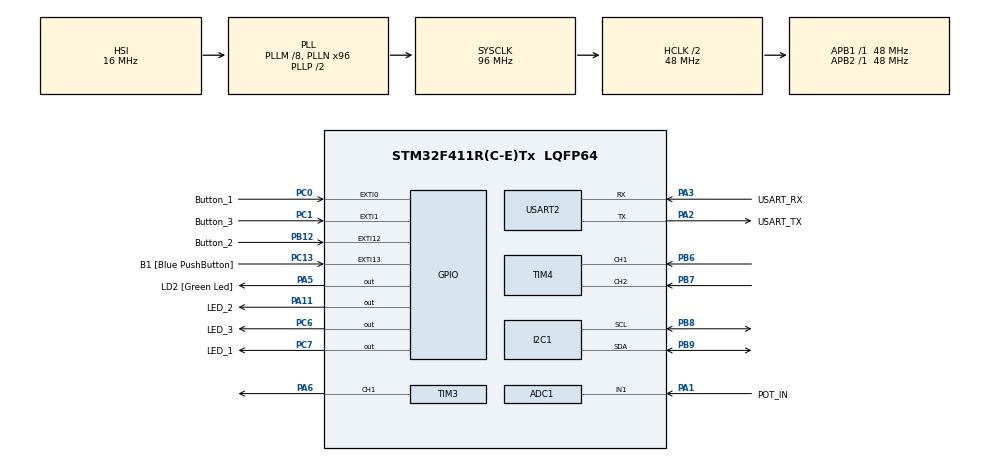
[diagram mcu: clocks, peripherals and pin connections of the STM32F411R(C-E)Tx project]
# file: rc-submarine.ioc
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ADC1.Channel-11\#ChannelRegularConversion=ADC_CHANNEL_1
ADC1.ContinuousConvMode=ENABLE
ADC1.NbrOfConversionFlag=1
ADC1.Rank-11\#ChannelRegularConversion=1
ADC1.SamplingTime-11\#ChannelRegularConversion=ADC_SAMPLETIME_28CYCLES
ADC1.master=1
Dma.Request0=USART2_TX
Dma.USART2_TX.0.Direction=DMA_MEMORY_TO_PERIPH
Dma.USART2_TX.0.FIFOMode=DMA_FIFOMODE_DISABLE
Dma.USART2_TX.0.Instance=DMA1_Stream6
Dma.USART2_TX.0.MemDataAlignment=DMA_MDATAALIGN_BYTE
Dma.USART2_TX.0.MemInc=DMA_MINC_ENABLE
Dma.USART2_TX.0.Mode=DMA_NORMAL
Dma.USART2_TX.0.PeriphDataAlignment=DMA_PDATAALIGN_BYTE
Dma.USART2_TX.0.PeriphInc=DMA_PINC_DISABLE
Dma.USART2_TX.0.Priority=DMA_PRIORITY_LOW
Mcu.Family=STM32F4
Mcu.Name=STM32F411R(C-E)Tx
Mcu.Package=LQFP64
NVIC.DMA1_Stream6_IRQn=true\:0\:0\:false\:false\:true\:false\:true\:true
NVIC.PriorityGroup=NVIC_PRIORITYGROUP_0
NVIC.USART2_IRQn=true\:0\:0\:false\:false\:true\:true\:true\:true
PA1.GPIO_Label=POT_IN
PA1.Signal=ADCx_IN1
PA11.GPIO_Label=LED_2
PA11.Signal=GPIO_Output
PA13.GPIO_Label=TMS
PA13.Signal=SYS_JTMS-SWDIO
PA14.GPIO_Label=TCK
PA14.Signal=SYS_JTCK-SWCLK
PA2.GPIO_Label=USART_TX
PA2.Mode=Asynchronous
PA2.Signal=USART2_TX
PA3.GPIO_Label=USART_RX
PA3.Mode=Asynchronous
PA3.Signal=USART2_RX
PA5.GPIO_Label=LD2 [Green Led]
PA5.Signal=GPIO_Output
PA6.Signal=S_TIM3_CH1
PB12.GPIO_Label=Button_2
PB12.GPIO_ModeDefaultEXTI=GPIO_MODE_IT_FALLING
PB12.GPIO_PuPd=GPIO_PULLDOWN
PB12.Signal=GPXTI12
PB3.Signal=SYS_JTDO-SWO
PB6.Signal=S_TIM4_CH1
PB7.Signal=S_TIM4_CH2
PB8.Mode=I2C
PB8.Signal=I2C1_SCL
PB9.Mode=I2C
PB9.Signal=I2C1_SDA
PC0.GPIO_Label=Button_1
PC0.GPIO_ModeDefaultEXTI=GPIO_MODE_IT_FALLING
PC0.GPIO_PuPd=GPIO_PULLDOWN
PC0.Signal=GPXTI0
PC1.GPIO_Label=Button_3
PC1.GPIO_ModeDefaultEXTI=GPIO_MODE_IT_FALLING
PC1.GPIO_PuPd=GPIO_PULLDOWN
PC1.Signal=GPXTI1
PC13-ANTI_TAMP.GPIO_Label=B1 [Blue PushButton]
PC13-ANTI_TAMP.GPIO_ModeDefaultEXTI=GPIO_MODE_IT_FALLING
PC13-ANTI_TAMP.GPIO_PuPd=GPIO_NOPULL
PC13-ANTI_TAMP.Signal=GPXTI13
PC14-OSC32_IN.Signal=RCC_OSC32_IN
PC15-OSC32_OUT.Signal=RCC_OSC32_OUT
PC6.GPIO_Label=LED_3
PC6.Signal=GPIO_Output
PC7.GPIO_Label=LED_1
PC7.Signal=GPIO_Output
PH0\ -\ OSC_IN.Mode=HSE-External-Clock-Source
PH0\ -\ OSC_IN.Signal=RCC_OSC_IN
PH1\ -\ OSC_OUT.Mode=HSE-External-Clock-Source
PH1\ -\ OSC_OUT.Signal=RCC_OSC_OUT
ProjectManager.HeapSize=0x200
ProjectManager.StackSize=0x400
ProjectManager.TargetToolchain=Makefile
RCC.48MHZClocksFreq_Value=48000000
RCC.AHBCLKDivider=RCC_SYSCLK_DIV2
RCC.AHBFreq_Value=48000000
RCC.APB1Freq_Value=48000000
RCC.APB1TimFreq_Value=48000000
RCC.APB2Freq_Value=48000000
RCC.APB2TimFreq_Value=48000000
RCC.CortexFreq_Value=48000000
RCC.FLatency-AdvancedSettings=FLASH_LATENCY_1
RCC.HCLKFreq_Value=48000000
RCC.HSE_VALUE=8000000
RCC.HSI_VALUE=16000000
RCC.LSE_VALUE=32768
RCC.PLLM=8
RCC.PLLN=96
RCC.SYSCLKFreq_VALUE=96000000
RCC.SYSCLKSource=RCC_SYSCLKSOURCE_PLLCLK
RCC.VCOOutputFreq_Value=192000000
SH.ADCx_IN1.0=ADC1_IN1,IN1
SH.S_TIM3_CH1.0=TIM3_CH1,PWM Generation1 CH1
SH.S_TIM4_CH1.0=TIM4_CH1,Encoder_Interface
SH.S_TIM4_CH2.0=TIM4_CH2,Encoder_Interface
TIM2.Prescaler=47
TIM3.Channel-PWM\ Generation1\ CH1=TIM_CHANNEL_1
TIM3.Period=4095
TIM3.Prescaler=0
TIM4.EncoderMode=TIM_ENCODERMODE_TI12
USART2.VirtualMode=VM_ASYNC
VP_TIM2_VS_ClockSourceINT.Mode=Internal
VP_TIM3_VS_ClockSourceINT.Mode=Internal
board=NUCLEO-F411RE

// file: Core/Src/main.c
/* USER CODE BEGIN Header */
/**
  ******************************************************************************
  * @file           : main.c
  * @brief          : Main program body
  ******************************************************************************
  * @attention
  *
  * Copyright (c) 2026 STMicroelectronics.
  * All rights reserved.
  *
  * This software is licensed under terms that can be found in the LICENSE file
  * in the root directory of this software component.
  * If no LICENSE file comes with this software, it is provided AS-IS.
  *
  ******************************************************************************
  */
/* USER CODE END Header */
#include "main.h"

/* USER CODE BEGIN Includes */
#include <stdio.h>
#include <string.h>
#include <stdlib.h>
#include "gy521_driver.h"
#include "stm32f4xx_hal_def.h"
#include "stm32f4xx_hal_gpio.h"
/* USER CODE END Includes */

ADC_HandleTypeDef hadc1;

I2C_HandleTypeDef hi2c1;

TIM_HandleTypeDef htim2;
TIM_HandleTypeDef htim3;
TIM_HandleTypeDef htim4;

UART_HandleTypeDef huart2;
DMA_HandleTypeDef hdma_usart2_tx;

/* USER CODE BEGIN PV */
uint16_t last_1s_toggle_time = 0; // Variable to store the last toggle time for LED_1
uint16_t last_2s_toggle_time = 0; // Variable to store the last toggle time for LED_1 and LED_2
uint16_t last_3s_toggle_time = 0; // Variable to store the last toggle time for LED_1, LED_2, and LED_3
uint16_t adc_value = 0; // Variable to store the ADC value
char dma_tx_buffer[512]; // Buffer for DMA transmission
volatile uint8_t uart_tx_ready = 1; // Flag to indicate if UART is ready for transmission

GY521_Data_t imu_metrics = {0};;

volatile uint32_t cpu_active_us = 0;
volatile uint32_t cpu_usage_percent = 0;

  // Define the clear, readable states for motor controller
  typedef enum {
    MOTOR_STOPPED = 0,
    MOTOR_FORWARD = 1,
    MOTOR_REVERSE = 2
  } MotorState_t;

  volatile MotorState_t motor_status = MOTOR_STOPPED; // Variable to store the current motor state
  char* motor_state_str = "STOPPED"; // String representation of the motor state for telemetry display
/* USER CODE END PV */

void SystemClock_Config(void);
static void MX_GPIO_Init(void);
static void MX_DMA_Init(void);
static void MX_TIM3_Init(void);
static void MX_USART2_UART_Init(void);
static void MX_ADC1_Init(void);
static void MX_TIM4_Init(void);
static void MX_I2C1_Init(void);
static void MX_TIM2_Init(void);

int main(void)
{

  /* MCU Configuration--------------------------------------------------------*/

  /* Reset of all peripherals, Initializes the Flash interface and the Systick. */
  HAL_Init();

  /* Configure the system clock */
  SystemClock_Config();

  /* Initialize all configured peripherals */
  MX_GPIO_Init();
  MX_DMA_Init();
  MX_TIM3_Init();
  MX_USART2_UART_Init();
  MX_ADC1_Init();
  MX_TIM4_Init();
  MX_I2C1_Init();
  MX_TIM2_Init();
  /* USER CODE BEGIN 2 */
  // Start the timer for PWM generation
  HAL_TIM_PWM_Start(&htim3, TIM_CHANNEL_1);

  // Start the timer for periodic interrupts
  HAL_TIM_Base_Start(&htim3); // Start the timer

  // Start the microsecond timer for CPU usage measurement
  HAL_TIM_Base_Start(&htim2); // Start the microsecond timer

  HAL_TIM_Encoder_Start(&htim4, TIM_CHANNEL_ALL); // Start the encoder interface

  // Variables to track the last state of buttons for edge detection
  uint8_t last_button_1_state = GPIO_PIN_RESET; // Variable to store the last state of Button_1
  uint8_t last_button_2_state = GPIO_PIN_RESET; // Variable to store the last state of Button_2
  uint8_t last_button_3_state = GPIO_PIN_RESET; // Variable to store the last state of Button_3

  // Motor feedback variables
  volatile uint32_t current_count = 0; // Variable to store the current counter value of the encoder
  volatile uint32_t last_count = 0; // Variable to store the last counter value of the encoder
  volatile int16_t raw_delta = 0; // Variable to store the raw delta count (difference between current and last count)
  volatile float motor_rpm = 0.0f; // Variable to store the calculated motor RPM (Revolutions Per Minute)
  volatile int32_t rounded_rpm = 0; // Variable to store the rounded motor RPM for display purposes

  if (GY521_Init_Advanced(&hi2c1) != HAL_OK)
  {
    HAL_GPIO_WritePin(LED_3_GPIO_Port, LED_3_Pin, GPIO_PIN_SET);
  }
  else
  {
    HAL_GPIO_WritePin(LED_3_GPIO_Port, LED_3_Pin, GPIO_PIN_RESET);
  }

  /* USER CODE END 2 */

  /* Infinite loop */
  /* USER CODE BEGIN WHILE */

  while (1)
{
    // Capture the microsecond timer value for CPU usage measurement
    uint32_t loop_start_time = __HAL_TIM_GET_COUNTER(&htim2);
    /* USER CODE END WHILE */

    /* USER CODE BEGIN 3 */

    // ADC Conversion
    HAL_ADC_Start(&hadc1);
    if (HAL_ADC_PollForConversion(&hadc1, 100) == HAL_OK)
    {
      adc_value = HAL_ADC_GetValue(&hadc1);
    }
    HAL_ADC_Stop(&hadc1);

    // Tie the ADC value to the PWM duty cycle for LED brightness control
    __HAL_TIM_SET_COMPARE(&htim3, TIM_CHANNEL_1, 4095 - adc_value);

    // Calculate the duty percentage for RealTerm telemetry
    uint32_t duty_percentage = (adc_value * 100) / 4095;

    // Read the current hardware state of buttons
    uint8_t current_button_1_state = HAL_GPIO_ReadPin(Button_1_GPIO_Port, Button_1_Pin);
    uint8_t current_button_2_state = HAL_GPIO_ReadPin(Button_2_GPIO_Port, Button_2_Pin);
    uint8_t current_button_3_state = HAL_GPIO_ReadPin(Button_3_GPIO_Port, Button_3_Pin);

    uint32_t current_time_ms = HAL_GetTick();
    static uint32_t last_button_1_press = 0;
    static uint32_t last_button_2_press = 0;
    static uint32_t last_button_3_press = 0;

    // Check for the falling edge of Button_1
    if (current_button_1_state == GPIO_PIN_RESET && last_button_1_state == GPIO_PIN_SET)
    {
      if (current_time_ms - last_button_1_press >= 50)
      {
        HAL_GPIO_TogglePin(LED_1_GPIO_Port, LED_1_Pin);
        last_button_1_press = current_time_ms;

        if (motor_status == MOTOR_FORWARD) motor_status = MOTOR_STOPPED;
        else                               motor_status = MOTOR_FORWARD;
      }
    }

    // Check for the falling edge of Button_2
    if (current_button_2_state == GPIO_PIN_RESET && last_button_2_state == GPIO_PIN_SET)
    {
      if (current_time_ms - last_button_2_press >= 50)
      {
        HAL_GPIO_TogglePin(LED_2_GPIO_Port, LED_2_Pin);
        last_button_2_press = current_time_ms;

        if (motor_status == MOTOR_REVERSE) motor_status = MOTOR_STOPPED;
        else                               motor_status = MOTOR_REVERSE;
      }
    }

    // Check for the falling edge of Button_3
    if (current_button_3_state == GPIO_PIN_RESET && last_button_3_state == GPIO_PIN_SET)
    {
      if (current_time_ms - last_button_3_press >= 50)
      {
        HAL_GPIO_TogglePin(LED_3_GPIO_Port, LED_3_Pin);
        last_button_3_press = current_time_ms;
      }
    }

    // Resolve the state machine into an explicit text string
    switch (motor_status)
    {
      case MOTOR_STOPPED: motor_state_str = "STOPPED"; break;
      case MOTOR_FORWARD: motor_state_str = "FORWARD"; break;
      case MOTOR_REVERSE: motor_state_str = "REVERSE"; break;
      default:            motor_state_str = "UNKNOWN"; break;
    }

    // Update the tracking history for the next iteration
    last_button_1_state = current_button_1_state;
    last_button_2_state = current_button_2_state;
    last_button_3_state = current_button_3_state;

    // Press B1 to turn on LD2
    if (HAL_GPIO_ReadPin(B1_GPIO_Port, B1_Pin) == GPIO_PIN_SET)
    {
      HAL_GPIO_WritePin(LD2_GPIO_Port, LD2_Pin, GPIO_PIN_SET);
    }
    else
    {
      HAL_GPIO_WritePin(LD2_GPIO_Port, LD2_Pin, GPIO_PIN_RESET);
    }

    // =================================================================
    // FIXED INTERVAL 1: HIGH-SPEED 20ms TELEMETRY & IMU SAMPLING (50Hz)
    // =================================================================
    static uint32_t last_rpm_time = 0;
    if (current_time_ms - last_rpm_time >= 20)
    {
      // CRITICAL FIX: Always advance the clock interval independently of UART hardware readiness
      last_rpm_time = current_time_ms;

      current_count = __HAL_TIM_GET_COUNTER(&htim4);
      raw_delta = (int16_t)(current_count - last_count);
      last_count = current_count;
      int16_t abs_delta = abs(raw_delta);

      // RPM delta tracking matching the 0.02s step
      motor_rpm = ((float)abs_delta / 0.02f) / (48.0f * 9.68f) * 60.0f;

      if (motor_rpm >= 0.0f) rounded_rpm = (int32_t)(motor_rpm + 0.5f);
      else                   rounded_rpm = (int32_t)(motor_rpm - 0.5f);

      // Execute the single burst transaction safetly over the bus
      HAL_StatusTypeDef i2c_status = GY521_Read_Burst(&hi2c1, &imu_metrics);

      // Handle bad frames
      if (i2c_status != HAL_OK)
      {
        HAL_GPIO_WritePin(LED_3_GPIO_Port, LED_3_Pin, GPIO_PIN_SET); // Turn on LED_1 to indicate I2C error
      }
      else
      {
        HAL_GPIO_WritePin(LED_3_GPIO_Port, LED_3_Pin, GPIO_PIN_RESET); // Turn off LED_1 to indicate I2C success
      }

      // ONLY attempt a transmission pipeline write if the previous DMA transfer is completely clear
      if (uart_tx_ready == 1)
      {
        char* led1_str = (HAL_GPIO_ReadPin(LED_1_GPIO_Port, LED_1_Pin) == GPIO_PIN_SET) ? "ON" : "OFF";
        char* led2_str = (HAL_GPIO_ReadPin(LED_2_GPIO_Port, LED_2_Pin) == GPIO_PIN_SET) ? "ON" : "OFF";
        char* led3_str = (HAL_GPIO_ReadPin(LED_3_GPIO_Port, LED_3_Pin) == GPIO_PIN_SET) ? "ON" : "OFF";

        memset(dma_tx_buffer, 0, sizeof(dma_tx_buffer));

        int msg_len = snprintf(dma_tx_buffer, sizeof(dma_tx_buffer),
          "%ld,%u,%lu,%s,%s,%s,%d,%d,%d,%d,%d,%d,%lu,%s\r\n",
            rounded_rpm, adc_value, duty_percentage, led1_str, led2_str, led3_str,
            imu_metrics.raw_ax, imu_metrics.raw_ay, imu_metrics.raw_az,
            imu_metrics.raw_gx, imu_metrics.raw_gy, imu_metrics.raw_gz,
            cpu_usage_percent, motor_state_str);

        uart_tx_ready = 0; // Lock structural hardware interlock barrier
        HAL_UART_Transmit_DMA(&huart2, (uint8_t*)dma_tx_buffer, msg_len);
      }
    }

    // =================================================================
    // ACCUMULATE ACTIVE MICROSECONDS (Runs on every single loop pass)
    // =================================================================
    uint32_t loop_end_time = __HAL_TIM_GET_COUNTER(&htim2);
    if (loop_end_time >= loop_start_time)
    {
      cpu_active_us += (loop_end_time - loop_start_time);
    }
    else
    {
      cpu_active_us += ((4294967295 - loop_start_time) + loop_end_time + 1);
    }

    // =================================================================
    // INTERVAL 2: LOW-SPEED 1000ms CPU PROFILING WINDOW (1Hz)
    // =================================================================
    if(current_time_ms - last_1s_toggle_time >= 1000)
    {
      last_1s_toggle_time = current_time_ms;
      cpu_usage_percent = (cpu_active_us / 10000);
      if (cpu_usage_percent > 100) cpu_usage_percent = 100;
      cpu_active_us = 0;
    }
  } // End of main while(1) loop
  /* USER CODE END 3 */
} // End of main function

void SystemClock_Config(void)
{
  RCC_OscInitTypeDef RCC_OscInitStruct = {0};
  RCC_ClkInitTypeDef RCC_ClkInitStruct = {0};

  /** Configure the main internal regulator output voltage
  */
  __HAL_RCC_PWR_CLK_ENABLE();
  __HAL_PWR_VOLTAGESCALING_CONFIG(PWR_REGULATOR_VOLTAGE_SCALE1);

  /** Initializes the RCC Oscillators according to the specified parameters
  * in the RCC_OscInitTypeDef structure.
  */
  RCC_OscInitStruct.OscillatorType = RCC_OSCILLATORTYPE_HSI;
  RCC_OscInitStruct.HSIState = RCC_HSI_ON;
  RCC_OscInitStruct.HSICalibrationValue = RCC_HSICALIBRATION_DEFAULT;
  RCC_OscInitStruct.PLL.PLLState = RCC_PLL_ON;
  RCC_OscInitStruct.PLL.PLLSource = RCC_PLLSOURCE_HSI;
  RCC_OscInitStruct.PLL.PLLM = 8;
  RCC_OscInitStruct.PLL.PLLN = 96;
  RCC_OscInitStruct.PLL.PLLP = RCC_PLLP_DIV2;
  RCC_OscInitStruct.PLL.PLLQ = 4;
  if (HAL_RCC_OscConfig(&RCC_OscInitStruct) != HAL_OK)
  {
    Error_Handler();
  }

  /** Initializes the CPU, AHB and APB buses clocks
  */
  RCC_ClkInitStruct.ClockType = RCC_CLOCKTYPE_HCLK|RCC_CLOCKTYPE_SYSCLK
                              |RCC_CLOCKTYPE_PCLK1|RCC_CLOCKTYPE_PCLK2;
  RCC_ClkInitStruct.SYSCLKSource = RCC_SYSCLKSOURCE_PLLCLK;
  RCC_ClkInitStruct.AHBCLKDivider = RCC_SYSCLK_DIV2;
  RCC_ClkInitStruct.APB1CLKDivider = RCC_HCLK_DIV1;
  RCC_ClkInitStruct.APB2CLKDivider = RCC_HCLK_DIV1;

  if (HAL_RCC_ClockConfig(&RCC_ClkInitStruct, FLASH_LATENCY_1) != HAL_OK)
  {
    Error_Handler();
  }
}

static void MX_ADC1_Init(void)
{

  ADC_ChannelConfTypeDef sConfig = {0};

  /** Configure the global features of the ADC (Clock, Resolution, Data Alignment and number of conversion)
  */
  hadc1.Instance = ADC1;
  hadc1.Init.ClockPrescaler = ADC_CLOCK_SYNC_PCLK_DIV2;
  hadc1.Init.Resolution = ADC_RESOLUTION_12B;
  hadc1.Init.ScanConvMode = DISABLE;
  hadc1.Init.ContinuousConvMode = ENABLE;
  hadc1.Init.DiscontinuousConvMode = DISABLE;
  hadc1.Init.ExternalTrigConvEdge = ADC_EXTERNALTRIGCONVEDGE_NONE;
  hadc1.Init.ExternalTrigConv = ADC_SOFTWARE_START;
  hadc1.Init.DataAlign = ADC_DATAALIGN_RIGHT;
  hadc1.Init.NbrOfConversion = 1;
  hadc1.Init.DMAContinuousRequests = DISABLE;
  hadc1.Init.EOCSelection = ADC_EOC_SINGLE_CONV;
  if (HAL_ADC_Init(&hadc1) != HAL_OK)
  {
    Error_Handler();
  }

  /** Configure for the selected ADC regular channel its corresponding rank in the sequencer and its sample time.
  */
  sConfig.Channel = ADC_CHANNEL_1;
  sConfig.Rank = 1;
  sConfig.SamplingTime = ADC_SAMPLETIME_28CYCLES;
  if (HAL_ADC_ConfigChannel(&hadc1, &sConfig) != HAL_OK)
  {
    Error_Handler();
  }

}

static void MX_I2C1_Init(void)
{

  hi2c1.Instance = I2C1;
  hi2c1.Init.ClockSpeed = 100000;
  hi2c1.Init.DutyCycle = I2C_DUTYCYCLE_2;
  hi2c1.Init.OwnAddress1 = 0;
  hi2c1.Init.AddressingMode = I2C_ADDRESSINGMODE_7BIT;
  hi2c1.Init.DualAddressMode = I2C_DUALADDRESS_DISABLE;
  hi2c1.Init.OwnAddress2 = 0;
  hi2c1.Init.GeneralCallMode = I2C_GENERALCALL_DISABLE;
  hi2c1.Init.NoStretchMode = I2C_NOSTRETCH_DISABLE;
  if (HAL_I2C_Init(&hi2c1) != HAL_OK)
  {
    Error_Handler();
  }

}

static void MX_TIM2_Init(void)
{

  TIM_ClockConfigTypeDef sClockSourceConfig = {0};
  TIM_MasterConfigTypeDef sMasterConfig = {0};

  htim2.Instance = TIM2;
  htim2.Init.Prescaler = 47;
  htim2.Init.CounterMode = TIM_COUNTERMODE_UP;
  htim2.Init.Period = 4294967295;
  htim2.Init.ClockDivision = TIM_CLOCKDIVISION_DIV1;
  htim2.Init.AutoReloadPreload = TIM_AUTORELOAD_PRELOAD_DISABLE;
  if (HAL_TIM_Base_Init(&htim2) != HAL_OK)
  {
    Error_Handler();
  }
  sClockSourceConfig.ClockSource = TIM_CLOCKSOURCE_INTERNAL;
  if (HAL_TIM_ConfigClockSource(&htim2, &sClockSourceConfig) != HAL_OK)
  {
    Error_Handler();
  }
  sMasterConfig.MasterOutputTrigger = TIM_TRGO_RESET;
  sMasterConfig.MasterSlaveMode = TIM_MASTERSLAVEMODE_DISABLE;
  if (HAL_TIMEx_MasterConfigSynchronization(&htim2, &sMasterConfig) != HAL_OK)
  {
    Error_Handler();
  }

}

static void MX_TIM3_Init(void)
{

  TIM_ClockConfigTypeDef sClockSourceConfig = {0};
  TIM_MasterConfigTypeDef sMasterConfig = {0};
  TIM_OC_InitTypeDef sConfigOC = {0};

  htim3.Instance = TIM3;
  htim3.Init.Prescaler = 0;
  htim3.Init.CounterMode = TIM_COUNTERMODE_UP;
  htim3.Init.Period = 4095;
  htim3.Init.ClockDivision = TIM_CLOCKDIVISION_DIV1;
  htim3.Init.AutoReloadPreload = TIM_AUTORELOAD_PRELOAD_DISABLE;
  if (HAL_TIM_Base_Init(&htim3) != HAL_OK)
  {
    Error_Handler();
  }
  sClockSourceConfig.ClockSource = TIM_CLOCKSOURCE_INTERNAL;
  if (HAL_TIM_ConfigClockSource(&htim3, &sClockSourceConfig) != HAL_OK)
  {
    Error_Handler();
  }
  if (HAL_TIM_PWM_Init(&htim3) != HAL_OK)
  {
    Error_Handler();
  }
  sMasterConfig.MasterOutputTrigger = TIM_TRGO_RESET;
  sMasterConfig.MasterSlaveMode = TIM_MASTERSLAVEMODE_DISABLE;
  if (HAL_TIMEx_MasterConfigSynchronization(&htim3, &sMasterConfig) != HAL_OK)
  {
    Error_Handler();
  }
  sConfigOC.OCMode = TIM_OCMODE_PWM1;
  sConfigOC.Pulse = 0;
  sConfigOC.OCPolarity = TIM_OCPOLARITY_HIGH;
  sConfigOC.OCFastMode = TIM_OCFAST_DISABLE;
  if (HAL_TIM_PWM_ConfigChannel(&htim3, &sConfigOC, TIM_CHANNEL_1) != HAL_OK)
  {
    Error_Handler();
  }
  HAL_TIM_MspPostInit(&htim3);

}

static void MX_TIM4_Init(void)
{

  TIM_Encoder_InitTypeDef sConfig = {0};
  TIM_MasterConfigTypeDef sMasterConfig = {0};

  htim4.Instance = TIM4;
  htim4.Init.Prescaler = 0;
  htim4.Init.CounterMode = TIM_COUNTERMODE_UP;
  htim4.Init.Period = 65535;
  htim4.Init.ClockDivision = TIM_CLOCKDIVISION_DIV1;
  htim4.Init.AutoReloadPreload = TIM_AUTORELOAD_PRELOAD_DISABLE;
  sConfig.EncoderMode = TIM_ENCODERMODE_TI12;
  sConfig.IC1Polarity = TIM_ICPOLARITY_RISING;
  sConfig.IC1Selection = TIM_ICSELECTION_DIRECTTI;
  sConfig.IC1Prescaler = TIM_ICPSC_DIV1;
  sConfig.IC1Filter = 0;
  sConfig.IC2Polarity = TIM_ICPOLARITY_RISING;
  sConfig.IC2Selection = TIM_ICSELECTION_DIRECTTI;
  sConfig.IC2Prescaler = TIM_ICPSC_DIV1;
  sConfig.IC2Filter = 0;
  if (HAL_TIM_Encoder_Init(&htim4, &sConfig) != HAL_OK)
  {
    Error_Handler();
  }
  sMasterConfig.MasterOutputTrigger = TIM_TRGO_RESET;
  sMasterConfig.MasterSlaveMode = TIM_MASTERSLAVEMODE_DISABLE;
  if (HAL_TIMEx_MasterConfigSynchronization(&htim4, &sMasterConfig) != HAL_OK)
  {
    Error_Handler();
  }

}

static void MX_USART2_UART_Init(void)
{

  huart2.Instance = USART2;
  huart2.Init.BaudRate = 115200;
  huart2.Init.WordLength = UART_WORDLENGTH_8B;
  huart2.Init.StopBits = UART_STOPBITS_1;
  huart2.Init.Parity = UART_PARITY_NONE;
  huart2.Init.Mode = UART_MODE_TX_RX;
  huart2.Init.HwFlowCtl = UART_HWCONTROL_NONE;
  huart2.Init.OverSampling = UART_OVERSAMPLING_16;
  if (HAL_UART_Init(&huart2) != HAL_OK)
  {
    Error_Handler();
  }

}

static void MX_DMA_Init(void)
{

  /* DMA controller clock enable */
  __HAL_RCC_DMA1_CLK_ENABLE();

  /* DMA interrupt init */
  /* DMA1_Stream6_IRQn interrupt configuration */
  HAL_NVIC_SetPriority(DMA1_Stream6_IRQn, 0, 0);
  HAL_NVIC_EnableIRQ(DMA1_Stream6_IRQn);

}

static void MX_GPIO_Init(void)
{
  GPIO_InitTypeDef GPIO_InitStruct = {0};

  /* GPIO Ports Clock Enable */
  __HAL_RCC_GPIOC_CLK_ENABLE();
  __HAL_RCC_GPIOH_CLK_ENABLE();
  __HAL_RCC_GPIOA_CLK_ENABLE();
  __HAL_RCC_GPIOB_CLK_ENABLE();

  /*Configure GPIO pin Output Level */
  HAL_GPIO_WritePin(GPIOA, LD2_Pin|LED_2_Pin, GPIO_PIN_RESET);

  /*Configure GPIO pin Output Level */
  HAL_GPIO_WritePin(GPIOC, LED_3_Pin|LED_1_Pin, GPIO_PIN_RESET);

  /*Configure GPIO pin : B1_Pin */
  GPIO_InitStruct.Pin = B1_Pin;
  GPIO_InitStruct.Mode = GPIO_MODE_IT_FALLING;
  GPIO_InitStruct.Pull = GPIO_NOPULL;
  HAL_GPIO_Init(B1_GPIO_Port, &GPIO_InitStruct);

  /*Configure GPIO pins : Button_1_Pin Button_3_Pin */
  GPIO_InitStruct.Pin = Button_1_Pin|Button_3_Pin;
  GPIO_InitStruct.Mode = GPIO_MODE_IT_FALLING;
  GPIO_InitStruct.Pull = GPIO_PULLDOWN;
  HAL_GPIO_Init(GPIOC, &GPIO_InitStruct);

  /*Configure GPIO pins : LD2_Pin LED_2_Pin */
  GPIO_InitStruct.Pin = LD2_Pin|LED_2_Pin;
  GPIO_InitStruct.Mode = GPIO_MODE_OUTPUT_PP;
  GPIO_InitStruct.Pull = GPIO_NOPULL;
  GPIO_InitStruct.Speed = GPIO_SPEED_FREQ_LOW;
  HAL_GPIO_Init(GPIOA, &GPIO_InitStruct);

  /*Configure GPIO pin : Button_2_Pin */
  GPIO_InitStruct.Pin = Button_2_Pin;
  GPIO_InitStruct.Mode = GPIO_MODE_IT_FALLING;
  GPIO_InitStruct.Pull = GPIO_PULLDOWN;
  HAL_GPIO_Init(Button_2_GPIO_Port, &GPIO_InitStruct);

  /*Configure GPIO pins : LED_3_Pin LED_1_Pin */
  GPIO_InitStruct.Pin = LED_3_Pin|LED_1_Pin;
  GPIO_InitStruct.Mode = GPIO_MODE_OUTPUT_PP;
  GPIO_InitStruct.Pull = GPIO_NOPULL;
  GPIO_InitStruct.Speed = GPIO_SPEED_FREQ_LOW;
  HAL_GPIO_Init(GPIOC, &GPIO_InitStruct);

}

/* USER CODE BEGIN 4 */
// Callback function for UART transmission complete interrupt
void HAL_UART_TxCpltCallback(UART_HandleTypeDef *huart)
{
  if (huart->Instance == USART2) // Check if the callback is for USART2
  {
    uart_tx_ready = 1; // Set the UART ready flag to indicate transmission is complete
  }
}
/* USER CODE END 4 */

void Error_Handler(void)
{
  __disable_irq();
  while (1)
  {
  }
}
